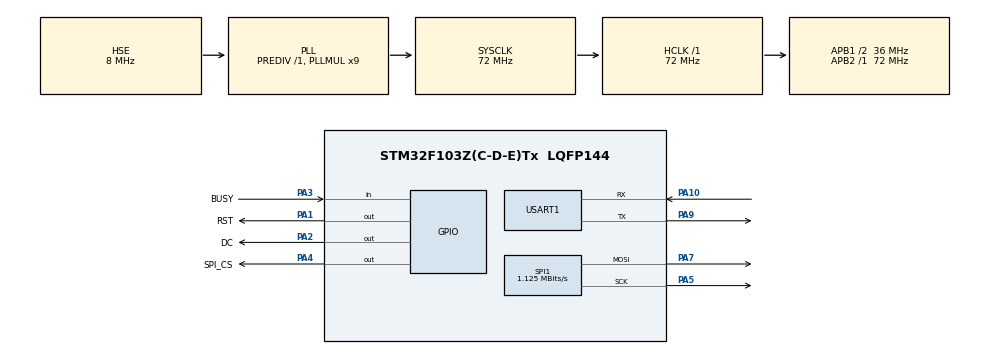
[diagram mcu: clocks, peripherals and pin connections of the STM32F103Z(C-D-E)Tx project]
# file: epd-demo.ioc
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Mcu.Family=STM32F1
Mcu.Name=STM32F103Z(C-D-E)Tx
Mcu.Package=LQFP144
NVIC.PriorityGroup=NVIC_PRIORITYGROUP_4
OSC_IN.Mode=HSE-External-Oscillator
OSC_IN.Signal=RCC_OSC_IN
OSC_OUT.Mode=HSE-External-Oscillator
OSC_OUT.Signal=RCC_OSC_OUT
PA1.GPIO_Label=RST
PA1.Signal=GPIO_Output
PA10.Mode=Asynchronous
PA10.Signal=USART1_RX
PA13.Mode=Serial_Wire
PA13.Signal=SYS_JTMS-SWDIO
PA14.Mode=Serial_Wire
PA14.Signal=SYS_JTCK-SWCLK
PA2.GPIO_Label=DC
PA2.Signal=GPIO_Output
PA3.GPIO_Label=BUSY
PA3.Signal=GPIO_Input
PA4.GPIO_Label=SPI_CS
PA4.Signal=GPIO_Output
PA5.Mode=TX_Only_Simplex_Unidirect_Master
PA5.Signal=SPI1_SCK
PA7.Mode=TX_Only_Simplex_Unidirect_Master
PA7.Signal=SPI1_MOSI
PA9.Mode=Asynchronous
PA9.Signal=USART1_TX
ProjectManager.HeapSize=0x9000
ProjectManager.StackSize=0x1000
ProjectManager.TargetToolchain=MDK-ARM V5
RCC.AHBFreq_Value=72000000
RCC.APB1CLKDivider=RCC_HCLK_DIV2
RCC.APB1Freq_Value=36000000
RCC.APB1TimFreq_Value=72000000
RCC.APB2Freq_Value=72000000
RCC.APB2TimFreq_Value=72000000
RCC.HCLKFreq_Value=72000000
RCC.PLLMUL=RCC_PLL_MUL9
RCC.PLLSourceVirtual=RCC_PLLSOURCE_HSE
RCC.SYSCLKFreq_VALUE=72000000
RCC.SYSCLKSource=RCC_SYSCLKSOURCE_PLLCLK
RCC.USBFreq_Value=72000000
SPI1.BaudRatePrescaler=SPI_BAUDRATEPRESCALER_64
SPI1.CalculateBaudRate=1.125 MBits/s
SPI1.Direction=SPI_DIRECTION_2LINES
SPI1.Mode=SPI_MODE_MASTER
SPI1.VirtualType=VM_MASTER
USART1.VirtualMode=VM_ASYNC
board=epd5in83-demo

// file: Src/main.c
/**
  ******************************************************************************
  * @file           : main.c
  * @brief          : Main program body
  ******************************************************************************
  ******************************************************************************
  */
#include "main.h"
#include "stm32f1xx_hal.h"
#include "spi.h"
#include "usart.h"
#include "gpio.h"

/* USER CODE BEGIN Includes */
#include "EPD_1in54b.h"
#include "DEV_Config.h"
#include "GUI_Paint.h"
#include "imagedata.h"
#include <stdlib.h>
/* USER CODE END Includes */

/* USER CODE BEGIN PV */
/* Private variables ---------------------------------------------------------*/

/* USER CODE END PV */

void SystemClock_Config(void);

/* USER CODE BEGIN PFP */
/* Private function prototypes -----------------------------------------------*/

/* USER CODE END PFP */

int main(void)
{

  /* MCU Configuration----------------------------------------------------------*/

  /* Reset of all peripherals, Initializes the Flash interface and the Systick. */
  HAL_Init();

  /* Configure the system clock */
  SystemClock_Config();

  /* Initialize all configured peripherals */
  MX_GPIO_Init();
  MX_USART1_UART_Init();
  MX_SPI1_Init();
  /* USER CODE BEGIN 2 */

    printf("epd init and clear------------------------\r\n");
    if(EPD_Init()) {
        printf("e-Paper init failed\r\n");
    }
    EPD_Clear();
    DEV_Delay_ms(200);

    //Create a new image cache named IMAGE_BW and fill it with white
    UBYTE *BlackImage, *RedImage;
    UWORD Imagesize = ((EPD_WIDTH % 8 == 0)? (EPD_WIDTH / 8 ): (EPD_WIDTH / 8 + 1)) * EPD_HEIGHT;
    if((BlackImage = (UBYTE *)malloc(Imagesize)) == NULL) {
        printf("Failed to apply for black memory...\r\n");
        return -1;
    }
    if((RedImage = (UBYTE *)malloc(Imagesize)) == NULL) {
        printf("Failed to apply for red memory...\r\n");
        return -1;
    }
    printf("NewImage:BlackImage and RedImage\r\n");
    Paint_NewImage(BlackImage, EPD_WIDTH, EPD_HEIGHT, 270, WHITE);
    Paint_NewImage(RedImage, EPD_WIDTH, EPD_HEIGHT, 270, WHITE);

    //Select Image
    Paint_SelectImage(BlackImage);
    Paint_Clear(WHITE);
    Paint_SelectImage(RedImage);
    Paint_Clear(WHITE);

#if 1   //show image for array
    printf("show image for array------------------------\r\n");
    Paint_SelectImage(BlackImage);
    Paint_DrawBitMap(IMAGE_BLACK);

    Paint_SelectImage(RedImage);
    Paint_DrawBitMap(IMAGE_RED);

    EPD_Display(BlackImage, RedImage);
    DEV_Delay_ms(2000);
#endif

#if 1   //Drawing
    printf("Drawing------------------------\r\n");
    Paint_SelectImage(BlackImage);
    Paint_Clear(WHITE);
    Paint_DrawPoint(5, 10, BLACK, DOT_PIXEL_1X1, DOT_STYLE_DFT);
    Paint_DrawPoint(5, 25, BLACK, DOT_PIXEL_2X2, DOT_STYLE_DFT);
    Paint_DrawLine(20, 10, 70, 60, BLACK, LINE_STYLE_SOLID, DOT_PIXEL_1X1);
    Paint_DrawLine(70, 10, 20, 60, BLACK, LINE_STYLE_SOLID, DOT_PIXEL_1X1);
    Paint_DrawRectangle(20, 10, 70, 60, BLACK, DRAW_FILL_EMPTY, DOT_PIXEL_1X1);
    Paint_DrawCircle(170, 85, 20, BLACK, DRAW_FILL_FULL, DOT_PIXEL_1X1);
    Paint_DrawString_EN(5, 70, "hello world", &Font16, WHITE, BLACK);
    Paint_DrawString_CN(5, 160, "�ź�����", &Font24CN, WHITE, BLACK);

    Paint_SelectImage(RedImage);
    Paint_Clear(WHITE);
    Paint_DrawPoint(5, 40, BLACK, DOT_PIXEL_3X3, DOT_STYLE_DFT);
    Paint_DrawPoint(5, 55, BLACK, DOT_PIXEL_4X4, DOT_STYLE_DFT);
    Paint_DrawLine(170, 15, 170, 55, BLACK, LINE_STYLE_DOTTED, DOT_PIXEL_1X1);
    Paint_DrawLine(150, 35, 190, 35, BLACK, LINE_STYLE_DOTTED, DOT_PIXEL_1X1);
    Paint_DrawRectangle(85, 10, 130, 60, BLACK, DRAW_FILL_FULL, DOT_PIXEL_1X1);
    Paint_DrawCircle(170, 35, 20, BLACK, DRAW_FILL_EMPTY, DOT_PIXEL_1X1);
    Paint_DrawString_EN(5, 90, "MH-ET LIVE", &Font20, BLACK, WHITE);
    Paint_DrawNum(5, 120, 123456789, &Font20, BLACK, WHITE);
    Paint_DrawString_CN(5, 135,"���abc", &Font12CN, BLACK, WHITE);

    EPD_Display(BlackImage, RedImage);
    DEV_Delay_ms(2000);
#endif

    printf("Goto Sleep mode...\r\n");
    EPD_Sleep();
    free(BlackImage);
    free(RedImage);
    BlackImage = NULL;
    RedImage = NULL;
  /* USER CODE END 2 */

  /* Infinite loop */
  while (1)
  {

  }

}

void SystemClock_Config(void)
{

  RCC_OscInitTypeDef RCC_OscInitStruct;
  RCC_ClkInitTypeDef RCC_ClkInitStruct;

    /**Initializes the CPU, AHB and APB busses clocks
    */
  RCC_OscInitStruct.OscillatorType = RCC_OSCILLATORTYPE_HSE;
  RCC_OscInitStruct.HSEState = RCC_HSE_ON;
  RCC_OscInitStruct.HSEPredivValue = RCC_HSE_PREDIV_DIV1;
  RCC_OscInitStruct.HSIState = RCC_HSI_ON;
  RCC_OscInitStruct.PLL.PLLState = RCC_PLL_ON;
  RCC_OscInitStruct.PLL.PLLSource = RCC_PLLSOURCE_HSE;
  RCC_OscInitStruct.PLL.PLLMUL = RCC_PLL_MUL9;
  if (HAL_RCC_OscConfig(&RCC_OscInitStruct) != HAL_OK)
  {
    _Error_Handler(__FILE__, __LINE__);
  }

    /**Initializes the CPU, AHB and APB busses clocks
    */
  RCC_ClkInitStruct.ClockType = RCC_CLOCKTYPE_HCLK|RCC_CLOCKTYPE_SYSCLK
                              |RCC_CLOCKTYPE_PCLK1|RCC_CLOCKTYPE_PCLK2;
  RCC_ClkInitStruct.SYSCLKSource = RCC_SYSCLKSOURCE_PLLCLK;
  RCC_ClkInitStruct.AHBCLKDivider = RCC_SYSCLK_DIV1;
  RCC_ClkInitStruct.APB1CLKDivider = RCC_HCLK_DIV2;
  RCC_ClkInitStruct.APB2CLKDivider = RCC_HCLK_DIV1;

  if (HAL_RCC_ClockConfig(&RCC_ClkInitStruct, FLASH_LATENCY_2) != HAL_OK)
  {
    _Error_Handler(__FILE__, __LINE__);
  }

    /**Configure the Systick interrupt time
    */
  HAL_SYSTICK_Config(HAL_RCC_GetHCLKFreq()/1000);

    /**Configure the Systick
    */
  HAL_SYSTICK_CLKSourceConfig(SYSTICK_CLKSOURCE_HCLK);

  /* SysTick_IRQn interrupt configuration */
  HAL_NVIC_SetPriority(SysTick_IRQn, 0, 0);
}

void _Error_Handler(char *file, int line)
{
  while(1)
  {
  }
}

/************************ (C) COPYRIGHT STMicroelectronics *****END OF FILE****/
